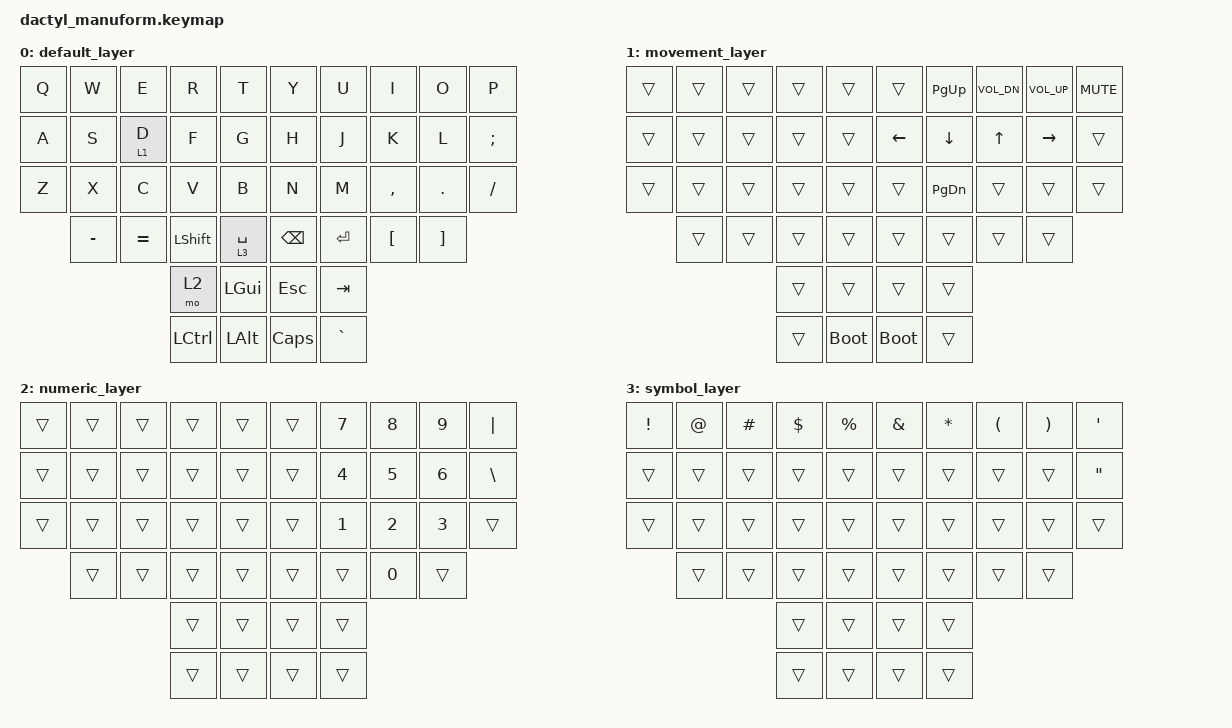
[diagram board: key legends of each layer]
/*
 * Copyright (c) 2020 The ZMK Contributors
 *
 * SPDX-License-Identifier: MIT
 */

#include <behaviors.dtsi>
#include <dt-bindings/zmk/keys.h>

/ {
	keymap0: keymap {
		compatible = "zmk,keymap";

		default_layer {
			bindings = <
                &kp Q     &kp W     &kp E     &kp R          &kp T          &kp Y        &kp U      &kp I     &kp O     &kp P
                &kp A     &kp S     &lt 1 D   &kp F          &kp G          &kp H        &kp J      &kp K     &kp L     &kp SEMI
                &kp Z     &kp X     &kp C     &kp V          &kp B          &kp N        &kp M      &kp COMMA &kp DOT   &kp FSLH
                          &kp MINUS &kp EQUAL &kp LSHFT      &lt 3 SPACE    &kp BSPC     &kp RET    &kp LBKT  &kp RBKT
                                              &mo 2          &kp LGUI       &kp ESC      &kp TAB
                                              &kp LCTRL      &kp LALT       &kp CAPSLOCK &kp GRAVE
			>;
		};

		movement_layer {
			bindings = <
                &trans    &trans    &trans    &trans         &trans         &trans       &kp PG_UP  &kp C_VOL_DN &kp C_VOL_UP &kp C_MUTE
                &trans    &trans    &trans    &trans         &trans         &kp LEFT     &kp DOWN   &kp UP       &kp RIGHT    &trans
                &trans    &trans    &trans    &trans         &trans         &trans       &kp PG_DN  &trans       &trans       &trans
                          &trans    &trans    &trans         &trans         &trans       &trans     &trans       &trans
                                              &trans         &trans         &trans       &trans
                                              &trans         &bootloader    &bootloader  &trans
			>;
		};

		numeric_layer {
			bindings = <
                &trans    &trans    &trans    &trans         &trans         &trans       &kp N7     &kp N8    &kp N9    &kp PIPE
                &trans    &trans    &trans    &trans         &trans         &trans       &kp N4     &kp N5    &kp N6    &kp BSLH
                &trans    &trans    &trans    &trans         &trans         &trans       &kp N1     &kp N2    &kp N3    &trans
                          &trans    &trans    &trans         &trans         &trans       &trans     &kp N0    &trans
                                              &trans         &trans         &trans       &trans
                                              &trans         &trans         &trans       &trans
			>;
		};

		symbol_layer {
			bindings = <
                &kp EXCL  &kp AT    &kp HASH  &kp DLLR       &kp PRCNT      &kp AMPS     &kp STAR   &kp LPAR  &kp RPAR  &kp APOS
                &trans    &trans    &trans    &trans         &trans         &trans       &trans     &trans    &trans    &kp DQT
                &trans    &trans    &trans    &trans         &trans         &trans       &trans     &trans    &trans    &trans
                          &trans    &trans    &trans         &trans         &trans       &trans     &trans    &trans
                                              &trans         &trans         &trans       &trans
                                              &trans         &trans         &trans       &trans
			>;
		};
	};
};
